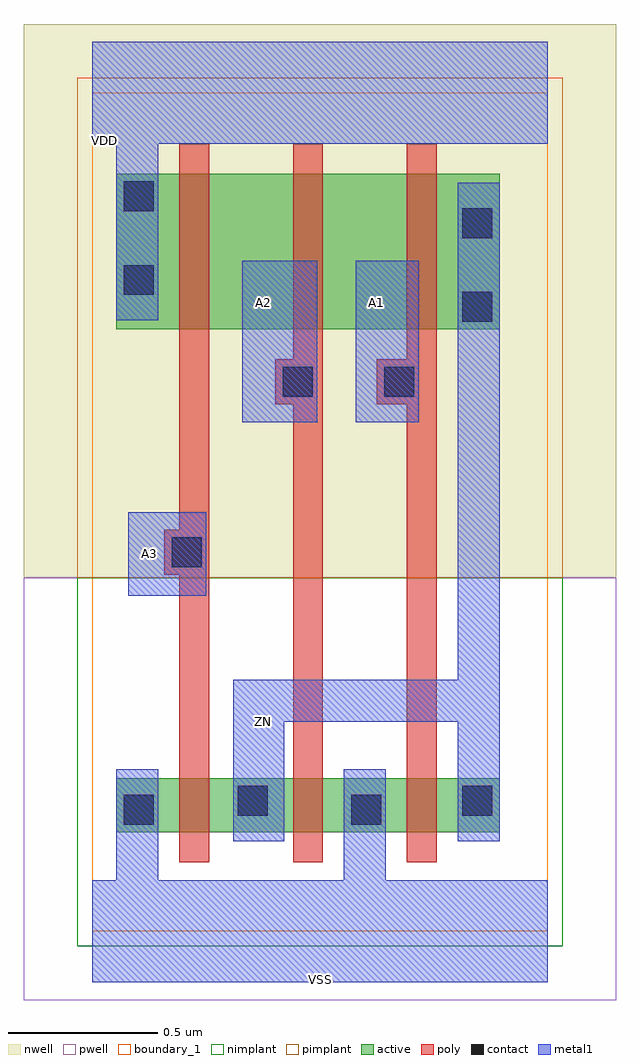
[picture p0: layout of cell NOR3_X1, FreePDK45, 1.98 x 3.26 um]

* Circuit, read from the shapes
.subckt NOR3_X1 A1 A2 A3 VDD VSS ZN
M1 ZN A3 VSS VSUBS nfet w=0.18u l=0.1u
M2 VSS A2 ZN VSUBS nfet w=0.18u l=0.1u
M3 ZN A1 VSS VSUBS nfet w=0.18u l=0.1u
M4 n1 A3 VDD n2 pfet w=0.52u l=0.1u
M5 n3 A2 n1 n2 pfet w=0.52u l=0.1u
M6 ZN A1 n3 n2 pfet w=0.52u l=0.1u
.ends

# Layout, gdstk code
import gdstk
lib = gdstk.Library(unit=1e-6, precision=1e-09)
def R(c, l, rs):  # rectangles x0, y0, x1, y1
    for r in rs: c.add(gdstk.rectangle(r[:2], r[2:], *l))
def P(c, l, *ps):  # polygons
    for p in ps: c.add(gdstk.Polygon(p, *l))
active = (1, 0)
pwell = (2, 0)
nwell = (3, 0)
nimplant = (4, 0)
pimplant = (5, 0)
poly = (9, 0)
contact = (10, 0)
metal1 = (11, 0)
boundary_1 = (235, 1)

nor3_x1 = lib.new_cell('NOR3_X1')
R(nor3_x1, active, [(0.08,0.33,1.36,0.51), (0.08,2.01,1.36,2.53)])
R(nor3_x1, pwell, [(-0.23,-0.23,1.75,1.18)])
R(nor3_x1, nwell, [(-0.23,1.18,1.75,3.03)])
R(nor3_x1, nimplant, [(-0.05,-0.05,1.57,1.18)])
R(nor3_x1, pimplant, [(-0.05,1.18,1.57,2.85)])
P(nor3_x1, poly, [(0.95,1.76),(1.05,1.76),(1.05,0.23),(1.15,0.23),(1.15,2.63),(1.05,2.63),(1.05,1.91),(0.95,1.91)],
  [(0.61,1.76),(0.67,1.76),(0.67,0.23),(0.77,0.23),(0.77,2.63),(0.67,2.63),(0.67,1.91),(0.61,1.91)],
  [(0.24,1.19),(0.29,1.19),(0.29,0.23),(0.39,0.23),(0.39,2.63),(0.29,2.63),(0.29,1.34),(0.24,1.34)])
R(nor3_x1, contact, [(0.105,0.355,0.205,0.455), (0.865,0.355,0.965,0.455), (0.485,0.385,0.585,0.485), (1.235,0.385,1.335,0.485), (0.265,1.215,0.365,1.315), (0.635,1.785,0.735,1.885), (0.975,1.785,1.075,1.885), (1.235,2.035,1.335,2.135), (0.105,2.125,0.205,2.225), (1.235,2.315,1.335,2.415), (0.105,2.405,0.205,2.505)])
R(nor3_x1, metal1, [(0.12,1.12,0.38,1.4), (0.12,1.12,0.38,1.4), (0.5,1.7,0.75,2.24), (0.5,1.7,0.75,2.24), (0.88,1.7,1.09,2.24), (0.88,1.7,1.09,2.24)])
P(nor3_x1, metal1, [(0.47,0.3),(0.64,0.3),(0.64,0.7),(1.22,0.7),(1.22,0.3),(1.36,0.3),(1.36,2.5),(1.22,2.5),(1.22,0.84),(0.47,0.84)],
  [(0,-0.17),(1.52,-0.17),(1.52,0.17),(0.98,0.17),(0.98,0.54),(0.84,0.54),(0.84,0.17),(0.22,0.17),(0.22,0.54),(0.08,0.54),(0.08,0.17),(0,0.17)],
  [(0,2.63),(0.08,2.63),(0.08,2.04),(0.22,2.04),(0.22,2.63),(1.52,2.63),(1.52,2.97),(0,2.97)],
  [(0,2.63),(0.08,2.63),(0.08,2.04),(0.22,2.04),(0.22,2.63),(1.52,2.63),(1.52,2.97),(0,2.97)],
  [(0,-0.17),(1.52,-0.17),(1.52,0.17),(0.98,0.17),(0.98,0.54),(0.84,0.54),(0.84,0.17),(0.22,0.17),(0.22,0.54),(0.08,0.54),(0.08,0.17),(0,0.17)],
  [(0.47,0.3),(0.64,0.3),(0.64,0.7),(1.22,0.7),(1.22,0.3),(1.36,0.3),(1.36,2.5),(1.22,2.5),(1.22,0.84),(0.47,0.84)])
R(nor3_x1, boundary_1, [(0,0,1.52,2.8)])
nor3_x1.add(gdstk.Label('ZN', (0.57,0.7), layer=11, texttype=0))
nor3_x1.add(gdstk.Label('VSS', (0.76,-0.16), layer=11, texttype=0))
nor3_x1.add(gdstk.Label('VDD', (0.04,2.64), layer=11, texttype=0))
nor3_x1.add(gdstk.Label('A3', (0.19,1.26), layer=11, texttype=0))
nor3_x1.add(gdstk.Label('A2', (0.57,2.1), layer=11, texttype=0))
nor3_x1.add(gdstk.Label('A1', (0.95,2.1), layer=11, texttype=0))

lib.write_gds('NOR3_X1.gds')
